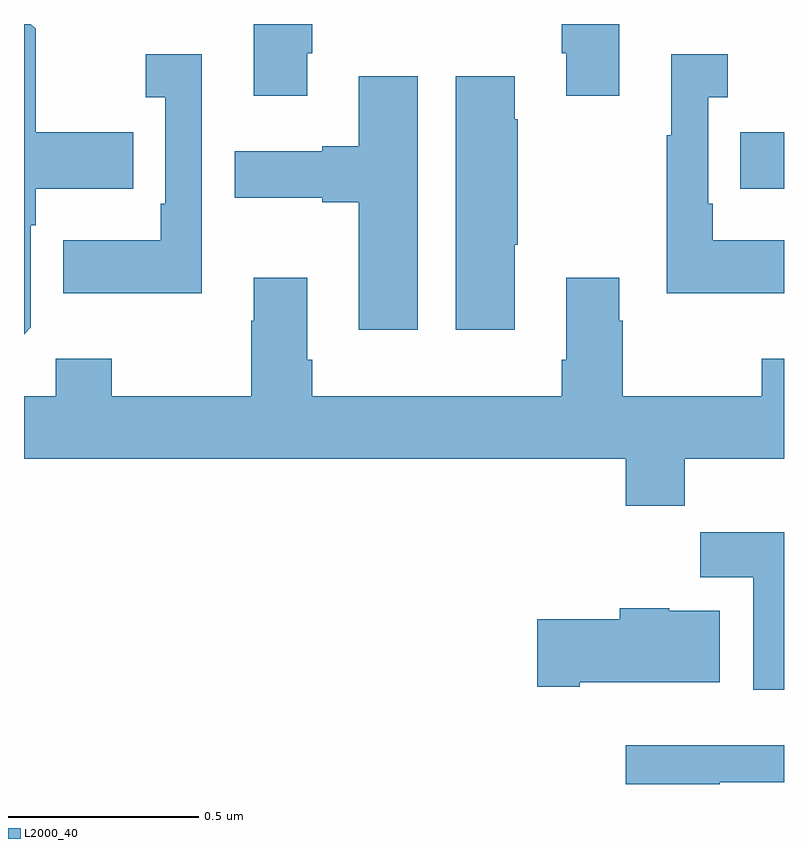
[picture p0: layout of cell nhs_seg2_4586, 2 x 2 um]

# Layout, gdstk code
import gdstk
lib = gdstk.Library(unit=1e-6, precision=1e-09)
def R(c, l, rs):  # rectangles x0, y0, x1, y1
    for r in rs: c.add(gdstk.rectangle(r[:2], r[2:], *l))
def P(c, l, *ps):  # polygons
    for p in ps: c.add(gdstk.Polygon(p, *l))
L2000_40 = (2000, 40)

nhs_seg2_4586 = lib.new_cell('nhs_seg2_4586')
R(nhs_seg2_4586, L2000_40, [(169.885,628.367,170,628.515)])
P(nhs_seg2_4586, L2000_40, [(168.745,628.723),(168.758,628.723),(168.758,628.8),(168.605,628.8),(168.605,628.611),(168.745,628.611)],
  [(169.567,628.8),(169.415,628.8),(169.415,628.723),(169.427,628.723),(169.427,628.611),(169.567,628.611)],
  [(168.018,628.002),(168.018,628.271),(168.031,628.271),(168.031,628.367),(168.287,628.367),(168.287,628.515),(168.031,628.515),(168.031,628.787),(168.018,628.8),(168,628.8),(168,627.984)],
  [(168.468,628.72),(168.321,628.72),(168.321,628.607),(168.372,628.607),(168.372,628.327),(168.36,628.327),(168.36,628.231),(168.103,628.231),(168.103,628.091),(168.468,628.091)],
  [(170,628.231),(169.813,628.231),(169.813,628.327),(169.8,628.327),(169.8,628.607),(169.852,628.607),(169.852,628.72),(169.703,628.72),(169.703,628.507),(169.692,628.507),(169.692,628.091),(170,628.091)],
  [(169.036,628.663),(168.881,628.663),(168.881,628.478),(168.785,628.478),(168.785,628.465),(168.555,628.465),(168.555,628.343),(168.785,628.343),(168.785,628.331),(168.881,628.331),(168.881,627.996),(169.036,627.996)],
  [(169.291,628.219),(169.299,628.219),(169.299,628.55),(169.291,628.55),(169.291,628.663),(169.136,628.663),(169.136,627.996),(169.291,627.996)],
  [(169.583,627.532),(169.739,627.532),(169.739,627.656),(170,627.656),(170,627.919),(169.942,627.919),(169.942,627.82),(169.575,627.82),(169.575,628.019),(169.567,628.019),(169.567,628.132),(169.427,628.132),(169.427,627.916),(169.415,627.916),(169.415,627.82),(168.758,627.82),(168.758,627.916),(168.745,627.916),(168.745,628.132),(168.605,628.132),(168.605,628.019),(168.598,628.019),(168.598,627.82),(168.231,627.82),(168.231,627.919),(168.084,627.919),(168.084,627.82),(168,627.82),(168,627.656),(169.583,627.656)],
  [(170,627.463),(169.78,627.463),(169.78,627.344),(169.919,627.344),(169.919,627.048),(170,627.048)],
  [(169.462,627.068),(169.831,627.068),(169.831,627.256),(169.698,627.256),(169.698,627.262),(169.568,627.262),(169.568,627.234),(169.35,627.234),(169.35,627.056),(169.462,627.056)],
  [(169.831,626.805),(170,626.805),(170,626.902),(169.583,626.902),(169.583,626.8),(169.831,626.8)])

lib.write_gds('nhs_seg2_4586.gds')
